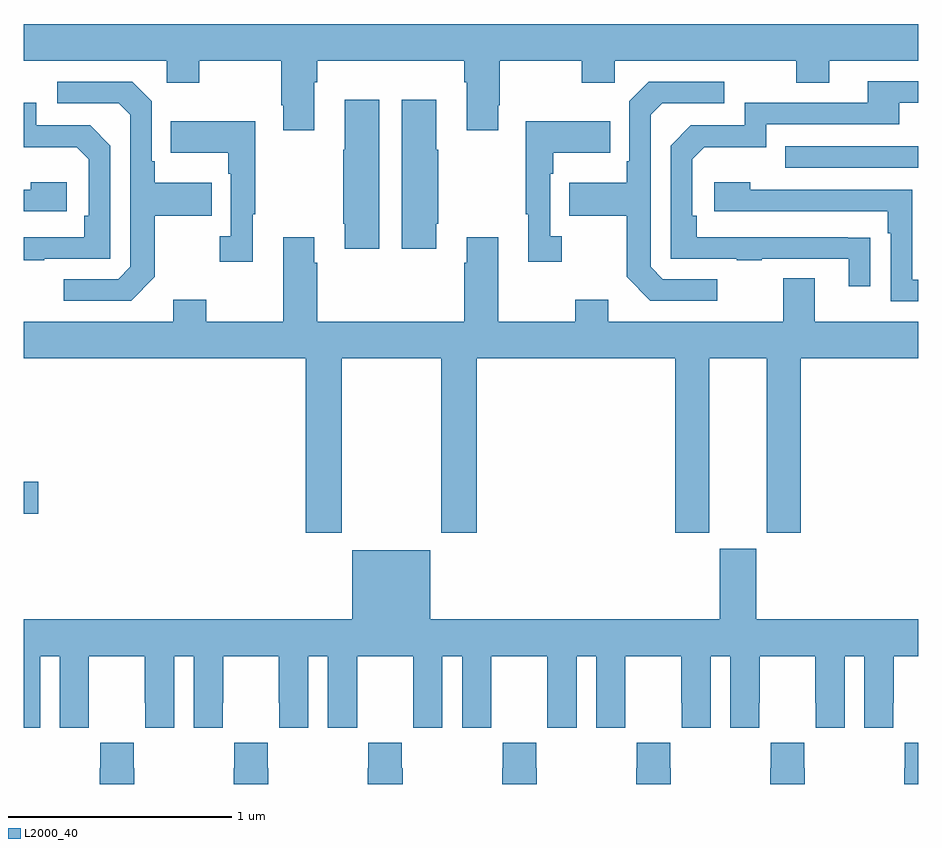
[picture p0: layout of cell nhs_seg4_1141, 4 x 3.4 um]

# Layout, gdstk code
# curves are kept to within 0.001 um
import gdstk
lib = gdstk.Library(unit=1e-6, precision=1e-09)
def R(c, l, rs):  # rectangles x0, y0, x1, y1
    for r in rs: c.add(gdstk.rectangle(r[:2], r[2:], *l))
def P(c, l, *ps):  # polygons
    for p in ps: c.add(gdstk.Polygon(p, *l))
L2000_40 = (2000, 40)

nhs_seg4_1141 = lib.new_cell('nhs_seg4_1141')
R(nhs_seg4_1141, L2000_40, [(169,812.11,169.063,812.252), (172.405,813.657,173,813.753)])
P(nhs_seg4_1141, L2000_40, [(170.299,814.04),(170.312,814.04),(170.312,814.136),(170.969,814.136),(170.969,814.04),(170.981,814.04),(170.981,813.825),(171.121,813.825),(171.121,813.937),(171.129,813.937),(171.129,814.136),(171.496,814.136),(171.496,814.037),(171.642,814.037),(171.642,814.136),(172.456,814.136),(172.456,814.037),(172.603,814.037),(172.603,814.136),(173,814.136),(173,814.3),(169,814.3),(169,814.136),(169.638,814.136),(169.638,814.037),(169.785,814.037),(169.785,814.136),(170.152,814.136),(170.152,813.937),(170.159,813.937),(170.159,813.825),(170.299,813.825)],
  [(172.787,813.344),(172.01,813.345),(172.01,813.442),(171.99,813.442),(171.99,813.696),(172.043,813.749),(172.32,813.749),(172.32,813.852),(172.915,813.852),(172.915,813.948),(173,813.948),(173,814.044),(172.775,814.044),(172.775,813.948),(172.224,813.948),(172.224,813.846),(171.984,813.846),(171.894,813.756),(171.894,813.249),(172.189,813.249),(172.189,813.244),(172.301,813.244),(172.301,813.249),(172.691,813.249),(172.691,813.126),(172.787,813.126)],
  [(172.102,813.159),(171.858,813.159),(171.804,813.213),(171.804,813.894),(171.855,813.945),(172.132,813.945),(172.132,814.041),(171.795,814.041),(171.708,813.954),(171.708,813.685),(171.696,813.685),(171.696,813.589),(171.439,813.589),(171.439,813.442),(171.696,813.442),(171.696,813.169),(171.801,813.063),(172.102,813.063)],
  [(169.585,813.169),(169.585,813.442),(169.841,813.442),(169.841,813.589),(169.585,813.589),(169.585,813.685),(169.572,813.685),(169.572,813.954),(169.485,814.041),(169.149,814.041),(169.149,813.945),(169.425,813.945),(169.476,813.894),(169.476,813.213),(169.422,813.159),(169.179,813.159),(169.179,813.063),(169.479,813.063)],
  [(170.59,813.961),(170.435,813.961),(170.435,813.737),(170.428,813.737),(170.428,813.406),(170.435,813.406),(170.435,813.294),(170.59,813.294)],
  [(170.845,813.406),(170.853,813.406),(170.853,813.737),(170.845,813.737),(170.845,813.961),(170.69,813.961),(170.69,813.294),(170.845,813.294)],
  [(169.091,813.249),(169.386,813.249),(169.386,813.756),(169.296,813.846),(169.056,813.846),(169.056,813.948),(169,813.948),(169,813.749),(169.237,813.749),(169.29,813.696),(169.29,813.442),(169.27,813.442),(169.27,813.345),(169,813.345),(169,813.244),(169.091,813.244)],
  [(171.406,813.35),(171.354,813.35),(171.354,813.629),(171.367,813.629),(171.367,813.725),(171.623,813.725),(171.623,813.865),(171.246,813.865),(171.246,813.449),(171.257,813.449),(171.257,813.237),(171.406,813.237)],
  [(170.023,813.449),(170.035,813.449),(170.035,813.865),(169.657,813.865),(169.657,813.725),(169.914,813.725),(169.914,813.629),(169.926,813.629),(169.926,813.35),(169.875,813.35),(169.875,813.237),(170.023,813.237)],
  [(173,813.156),(172.974,813.156),(172.974,813.558),(172.25,813.558),(172.25,813.592),(172.089,813.592),(172.089,813.462),(172.865,813.462),(172.865,813.365),(172.878,813.365),(172.878,813.06),(173,813.06)],
  [(169.192,813.592),(169.031,813.592),(169.031,813.558),(169,813.558),(169,813.462),(169.192,813.462)],
  [(172.475,812.804),(173,812.804),(173,812.968),(172.537,812.968),(172.537,813.163),(172.397,813.163),(172.397,812.968),(171.613,812.968),(171.613,813.067),(171.466,813.067),(171.466,812.968),(171.121,812.968),(171.121,813.346),(170.981,813.346),(170.981,813.233),(170.969,813.233),(170.969,812.968),(170.312,812.968),(170.312,813.233),(170.299,813.233),(170.299,813.346),(170.159,813.346),(170.159,812.968),(169.815,812.968),(169.815,813.067),(169.667,813.067),(169.667,812.968),(169,812.968),(169,812.804),(170.261,812.804),(170.261,812.025),(170.421,812.025),(170.421,812.804),(170.866,812.804),(170.866,812.025),(171.026,812.025),(171.026,812.804),(171.914,812.804),(171.914,812.025),(172.066,812.025),(172.066,812.804),(172.322,812.804),(172.322,812.025),(172.475,812.025)],
  [(169,811.152),(169.072,811.152),(169.072,811.472),(169.16,811.472),(169.16,811.152),(169.29,811.152),(169.29,811.264),(169.291,811.264),(169.291,811.472),(169.541,811.472),(169.541,811.264),(169.542,811.264),(169.542,811.152),(169.672,811.152),(169.672,811.472),(169.76,811.472),(169.76,811.152),(169.89,811.152),(169.89,811.264),(169.891,811.264),(169.891,811.472),(170.141,811.472),(170.141,811.264),(170.142,811.264),(170.142,811.152),(170.272,811.152),(170.272,811.472),(170.36,811.472),(170.36,811.152),(170.49,811.152),(170.49,811.264),(170.491,811.264),(170.491,811.472),(170.741,811.472),(170.741,811.264),(170.742,811.264),(170.742,811.152),(170.872,811.152),(170.872,811.472),(170.96,811.472),(170.96,811.152),(171.09,811.152),(171.09,811.264),(171.091,811.264),(171.091,811.472),(171.341,811.472),(171.341,811.264),(171.342,811.264),(171.342,811.152),(171.472,811.152),(171.472,811.472),(171.56,811.472),(171.56,811.152),(171.69,811.152),(171.69,811.264),(171.691,811.264),(171.691,811.472),(171.941,811.472),(171.941,811.264),(171.942,811.264),(171.942,811.152),(172.072,811.152),(172.072,811.472),(172.16,811.472),(172.16,811.152),(172.29,811.152),(172.29,811.264),(172.291,811.264),(172.291,811.472),(172.541,811.472),(172.541,811.264),(172.542,811.264),(172.542,811.152),(172.672,811.152),(172.672,811.472),(172.76,811.472),(172.76,811.152),(172.89,811.152),(172.89,811.264),(172.891,811.264),(172.891,811.472),(173,811.472),(173,811.636),(172.276,811.636),(172.276,811.953),(172.112,811.953),(172.112,811.636),(170.818,811.636),(170.818,811.945),(170.468,811.945),(170.468,811.636),(169,811.636)],
  [(172.494,810.971),(172.491,810.971),(172.491,811.084),(172.341,811.084),(172.341,810.971),(172.339,810.971),(172.339,810.9),(172.494,810.9)],
  [(173,811.084),(172.941,811.084),(172.941,810.971),(172.939,810.971),(172.939,810.9),(173,810.9)],
  [(171.894,810.971),(171.891,810.971),(171.891,811.084),(171.741,811.084),(171.741,810.971),(171.739,810.971),(171.739,810.9),(171.894,810.9)],
  [(169.494,810.971),(169.491,810.971),(169.491,811.084),(169.341,811.084),(169.341,810.971),(169.339,810.971),(169.339,810.9),(169.494,810.9)],
  [(170.094,810.971),(170.091,810.971),(170.091,811.084),(169.941,811.084),(169.941,810.971),(169.939,810.971),(169.939,810.9),(170.094,810.9)],
  [(170.694,810.971),(170.691,810.971),(170.691,811.084),(170.541,811.084),(170.541,810.971),(170.539,810.971),(170.539,810.9),(170.694,810.9)],
  [(171.294,810.971),(171.291,810.971),(171.291,811.084),(171.141,811.084),(171.141,810.971),(171.139,810.971),(171.139,810.9),(171.294,810.9)])

lib.write_gds('nhs_seg4_1141.gds')
